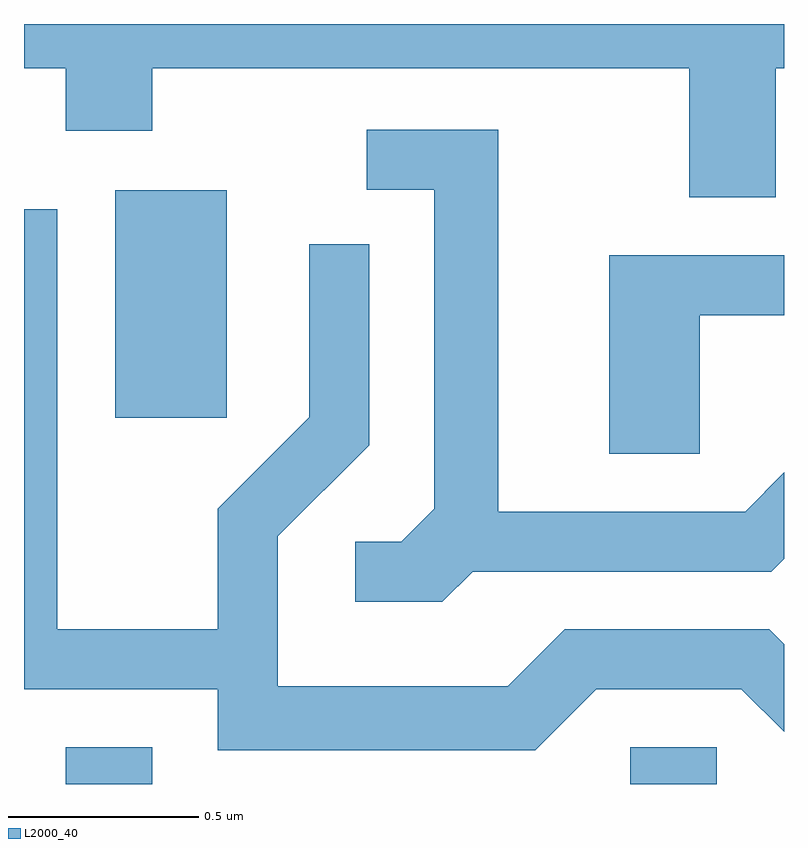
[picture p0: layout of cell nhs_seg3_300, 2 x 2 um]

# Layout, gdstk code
import gdstk
lib = gdstk.Library(unit=1e-6, precision=1e-09)
def R(c, l, rs):  # rectangles x0, y0, x1, y1
    for r in rs: c.add(gdstk.rectangle(r[:2], r[2:], *l))
def P(c, l, *ps):  # polygons
    for p in ps: c.add(gdstk.Polygon(p, *l))
L2000_40 = (2000, 40)

nhs_seg3_300 = lib.new_cell('nhs_seg3_300')
R(nhs_seg3_300, L2000_40, [(187.721,1141.892,187.949,1141.989), (189.206,1141.892,189.434,1141.989), (187.851,1142.856,188.144,1143.454)])
P(nhs_seg3_300, L2000_40, [(189.589,1143.776),(189.611,1143.776),(189.611,1143.892),(187.611,1143.892),(187.611,1143.776),(187.721,1143.776),(187.721,1143.611),(187.949,1143.611),(187.949,1143.776),(189.361,1143.776),(189.361,1143.436),(189.589,1143.436)],
  [(188.792,1142.451),(189.577,1142.451),(189.611,1142.485),(189.611,1142.712),(189.509,1142.609),(188.859,1142.609),(188.859,1143.614),(188.513,1143.614),(188.513,1143.456),(188.691,1143.456),(188.691,1142.617),(188.604,1142.529),(188.483,1142.529),(188.483,1142.371),(188.712,1142.371)],
  [(189.117,1142.141),(189.499,1142.141),(189.611,1142.029),(189.611,1142.26),(189.572,1142.299),(189.034,1142.299),(188.884,1142.149),(188.279,1142.149),(188.279,1142.544),(188.519,1142.784),(188.519,1143.313),(188.361,1143.313),(188.361,1142.857),(188.121,1142.617),(188.121,1142.299),(187.699,1142.299),(187.699,1143.404),(187.611,1143.404),(187.611,1142.141),(188.121,1142.141),(188.121,1141.981),(188.957,1141.981)],
  [(189.389,1143.126),(189.611,1143.126),(189.611,1143.284),(189.151,1143.284),(189.151,1142.761),(189.389,1142.761)])

lib.write_gds('nhs_seg3_300.gds')
